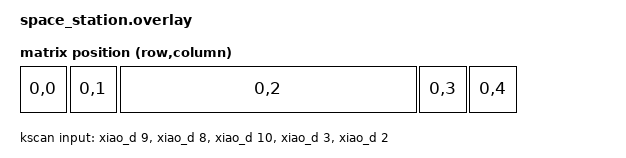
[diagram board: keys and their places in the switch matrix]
/*
 * Copyright (c) 2024 The ZMK Contributors
 *
 * SPDX-License-Identifier: MIT
 */

#include <dt-bindings/zmk/matrix_transform.h>
#include <physical_layouts.dtsi>

/ {
    chosen {
        zmk,kscan = &kscan;
        zmk,physical-layout = &default_layout;
    };

    kscan: kscan {
        compatible = "zmk,kscan-gpio-direct";
        wakeup-source;

        input-gpios
            = <&xiao_d 9  (GPIO_ACTIVE_LOW | GPIO_PULL_UP)>
            , <&xiao_d 8  (GPIO_ACTIVE_LOW | GPIO_PULL_UP)>
            , <&xiao_d 10 (GPIO_ACTIVE_LOW | GPIO_PULL_UP)>
            , <&xiao_d 3  (GPIO_ACTIVE_LOW | GPIO_PULL_UP)>
            , <&xiao_d 2  (GPIO_ACTIVE_LOW | GPIO_PULL_UP)>
            ;
    };

    default_transform: default_transform {
        compatible = "zmk,matrix-transform";
        columns = <5>;
        rows = <1>;
        map = <RC(0,0) RC(0,1) RC(0,2) RC(0,3) RC(0,4)>;
    };

    three_key_transform: three_key_transform {
        compatible = "zmk,matrix-transform";
        columns = <3>;
        rows = <1>;
        map = <RC(0,0) RC(0,2) RC(0,4)>;
    };

    space_transform: space_transform {
        compatible = "zmk,matrix-transform";
        columns = <1>;
        rows = <1>;
        map = <RC(0,2)>;
    };

    default_layout: default_layout {
        compatible = "zmk,physical-layout";
        display-name = "6u";
        transform = <&default_transform>;

        keys  //                     w   h    x    y     rot    rx    ry
            = <&key_physical_attrs 100 100    0    0       0     0     0>
            , <&key_physical_attrs 100 100  100    0       0     0     0>
            , <&key_physical_attrs 600 100  200    0       0     0     0>
            , <&key_physical_attrs 100 100  800    0       0     0     0>
            , <&key_physical_attrs 100 100  900    0       0     0     0>
            ;
    };

    three_key_layout: three_key_layout {
        compatible = "zmk,physical-layout";
        display-name = "7u";
        transform = <&three_key_transform>;

        keys  //                     w   h    x    y     rot    rx    ry
            = <&key_physical_attrs 150 100    0    0       0     0     0>
            , <&key_physical_attrs 700 100  150    0       0     0     0>
            , <&key_physical_attrs 150 100  850    0       0     0     0>
            ;
    };

    space_layout: space_layout {
        compatible = "zmk,physical-layout";
        display-name = "Space Station";
        transform = <&space_transform>;

        keys  //                     w   h    x    y     rot    rx    ry
            = <&key_physical_attrs 1000 100    0    0       0     0     0>
            ;
    };

    position_map {
        compatible = "zmk,physical-layout-position-map";
        complete;

        default_map {
            physical-layout = <&default_layout>;
            positions = <0 1 2 3 4>;
        };

        three_key_map {
            physical-layout = <&three_key_layout>;
            positions = <0 3 1 4 2>;
        };

        space_map {
            physical-layout = <&space_layout>;
            positions = <1 2 0 3 4>;
        };
    };
};

&xiao_serial { status = "disabled"; };
&xiao_spi { status = "disabled"; };
